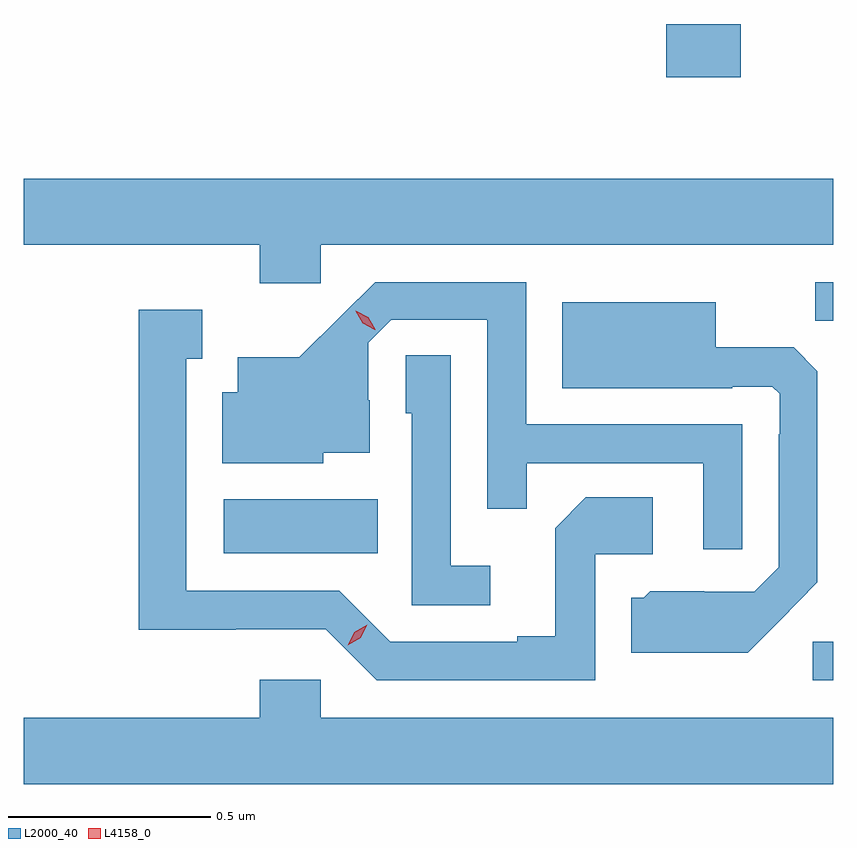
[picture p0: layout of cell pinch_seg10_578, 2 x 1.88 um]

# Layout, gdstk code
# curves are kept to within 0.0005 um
import gdstk
lib = gdstk.Library(unit=1e-6, precision=1e-09)
def R(c, l, rs):  # rectangles x0, y0, x1, y1
    for r in rs: c.add(gdstk.rectangle(r[:2], r[2:], *l))
def P(c, l, *ps):  # polygons
    for p in ps: c.add(gdstk.Polygon(p, *l))
L2000_40 = (2000, 40)
L4158_0 = (4158, 0)

pinch_seg10_578 = lib.new_cell('pinch_seg10_578')
R(pinch_seg10_578, L2000_40, [(303.333,1272.6,303.384,1272.696), (301.878,1272.914,302.258,1273.048), (303.34,1273.489,303.384,1273.584), (302.972,1274.091,303.155,1274.222)])
P(pinch_seg10_578, L2000_40, [(302.118,1273.676),(303.384,1273.676),(303.384,1273.84),(301.384,1273.84),(301.384,1273.676),(301.967,1273.676),(301.967,1273.581),(302.118,1273.581)],
  [(303.159,1273.233),(302.625,1273.233),(302.625,1273.584),(302.252,1273.584),(302.065,1273.399),(301.913,1273.399),(301.913,1273.312),(301.874,1273.312),(301.874,1273.136),(302.124,1273.136),(302.124,1273.163),(302.239,1273.163),(302.239,1273.292),(302.235,1273.292),(302.235,1273.434),(302.292,1273.491),(302.529,1273.491),(302.529,1273.024),(302.627,1273.024),(302.627,1273.137),(303.063,1273.137),(303.063,1272.924),(303.159,1272.924)],
  [(303.253,1272.749),(303.345,1272.842),(303.345,1273.364),(303.286,1273.423),(303.094,1273.423),(303.094,1273.534),(302.714,1273.534),(302.714,1273.322),(303.134,1273.322),(303.134,1273.326),(303.234,1273.326),(303.252,1273.308),(303.252,1273.208),(303.249,1273.208),(303.249,1272.879),(303.189,1272.819),(303.066,1272.819),(303.066,1272.82),(302.932,1272.82),(302.916,1272.804),(302.885,1272.804),(302.885,1272.668),(303.173,1272.668)],
  [(302.796,1272.912),(302.938,1272.912),(302.938,1273.052),(302.773,1273.052),(302.697,1272.976),(302.697,1272.709),(302.603,1272.709),(302.603,1272.696),(302.289,1272.696),(302.163,1272.822),(301.786,1272.822),(301.786,1273.395),(301.825,1273.395),(301.825,1273.516),(301.668,1273.516),(301.668,1272.725),(301.908,1272.725),(301.908,1272.726),(302.13,1272.726),(302.256,1272.6),(302.796,1272.6)],
  [(302.536,1272.883),(302.439,1272.883),(302.439,1273.403),(302.328,1273.403),(302.328,1273.26),(302.343,1273.26),(302.343,1272.786),(302.536,1272.786)],
  [(303.384,1272.508),(302.118,1272.508),(302.118,1272.601),(301.967,1272.601),(301.967,1272.508),(301.384,1272.508),(301.384,1272.344),(303.384,1272.344)])
P(pinch_seg10_578, L4158_0, [(302.251,1273.467),(302.221,1273.483),(302.204,1273.512),(302.204,1273.513),(302.204,1273.513),(302.235,1273.497),(302.252,1273.468),(302.252,1273.467)],
  [(302.184,1272.687),(302.184,1272.687),(302.201,1272.719),(302.233,1272.738),(302.233,1272.738),(302.233,1272.738),(302.216,1272.706),(302.184,1272.687)])

lib.write_gds('pinch_seg10_578.gds')
